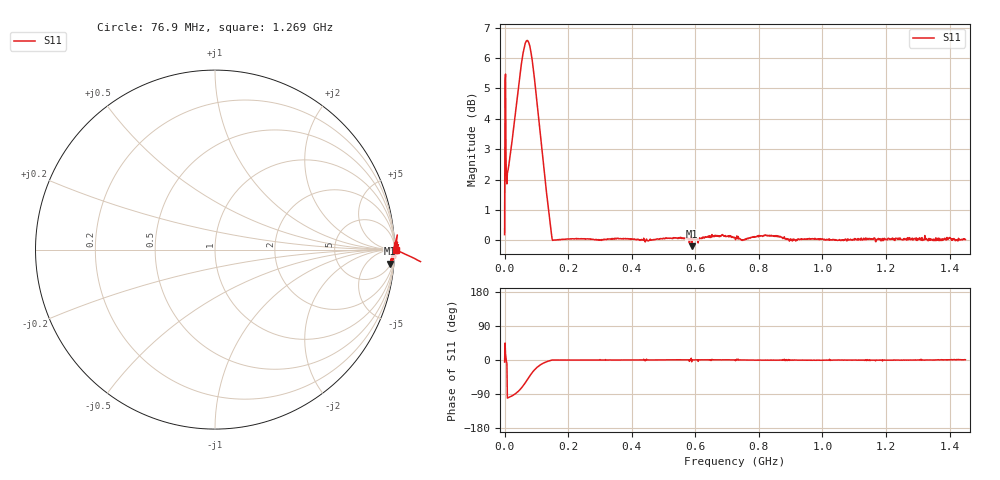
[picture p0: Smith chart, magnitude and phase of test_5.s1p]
! Created with skrf 1.11.0 (http://scikit-rf.org).
# Hz S RI R 50.0
!freq ReS11 ImS11
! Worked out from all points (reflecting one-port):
!   1001 points, 50 kHz to 1.45 GHz, reference 50 ohm
!   lowest |S11| = -0.2 dB at 588.7 MHz (marker M1), VSWR 91.88, Z = 313 - j1.16e+03 ohm
!   phase of S11 starts at -5 deg and turns +6 deg over the sweep
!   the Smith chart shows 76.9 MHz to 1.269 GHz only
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50000  1.018 -0.0961
8749700  -0.2358 -1.268
1.019965e7  -0.2248 -1.28
1.16496e7  -0.215 -1.295
1.599945e7  -0.1865 -1.346
2.759905e7  -0.0706 -1.514
3.77487e7  0.1013 -1.678
4.64484e7  0.323 -1.809
5.659805e7  0.6876 -1.888
6.529775e7  1.064 -1.824
7.54474e7  1.447 -1.546
8.269715e7  1.611 -1.259
8.99469e7  1.665 -0.9617
9.86466e7  1.623 -0.6617
1.058964e8  1.543 -0.4663
1.14596e8  1.425 -0.2958
1.247457e8  1.287 -0.1618
1.363453e8  1.145 -0.0668
1.493948e8  1.006 -0.00293
1.812938e8  1.004 -0.000837
3.625375e8  1.007 0.00109
5.437812e8  1.008 0.0113
5.887297e8  0.9753 -0.0787
7.25025e8  1.01 0.00517
9.062688e8  0.9981 0.00225
1.087512e9  1.003 -0.00345
1.268756e9  1.01 -0.00121
1.45e9  1.004 0.0129
